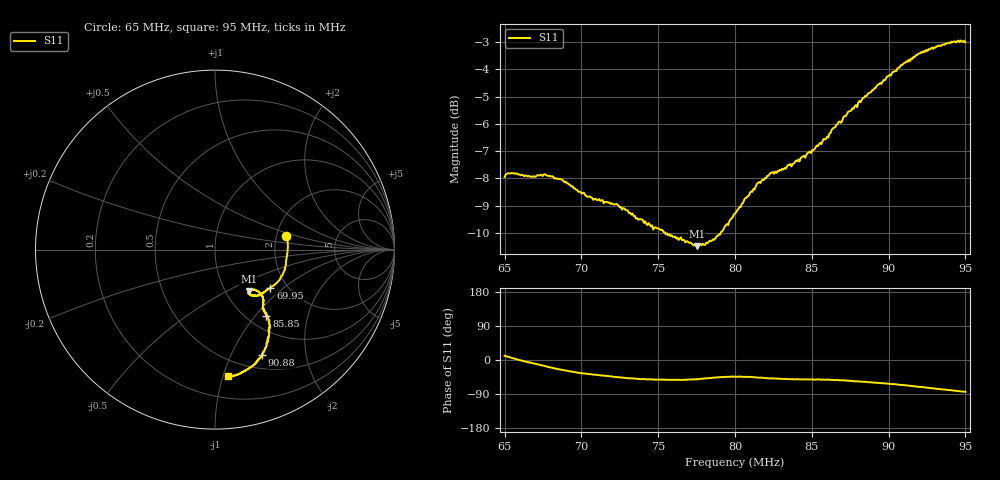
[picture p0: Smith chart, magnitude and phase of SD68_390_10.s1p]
! NanoVNA-App
! Date: 2025-08-02 16:01:18
! Start: 65MHz Stop: 95MHz Points: 401
! S-Parameter data: F S11
# Hz S RI R 50
!  Frequency  S11_Real  S11_Imag
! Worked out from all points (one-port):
!   401 points, 65 MHz to 95 MHz, reference 50 ohm
!   lowest |S11| = -10.5 dB at 77.53 MHz (marker M1), VSWR 1.85, Z = 63.9 - j32.6 ohm
!   |S11| at or under -10 dB: 75.44 MHz to 79.07 MHz (3.629 MHz wide, 4.7 % of centre)
!   S11 on the Smith chart (normalised r, x): 65 MHz: 2.24, +0.41; 69.95 MHz: 1.64, -0.82; 85.85 MHz: 1.21, -1.15; 90.88 MHz: 0.66, -1.32; 95 MHz: 0.37, -1.04
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6.5e7  0.3928 0.0776
6.5675e7  0.4056 0.0208
6.6275e7  0.4011 -0.024
6.725e7  0.3939 -0.0847
6.8e7  0.377 -0.1375
6.875e7  0.3557 -0.1736
6.995e7  0.3088 -0.2142
7.25e7  0.2458 -0.2522
7.415e7  0.2104 -0.257
7.625e7  0.1892 -0.2457
7.7525e7  0.1885 -0.2321
7.8125e7  0.2003 -0.2278
7.88e7  0.2155 -0.2252
8e7  0.248 -0.237
8.09e7  0.2622 -0.261
8.1575e7  0.2685 -0.286
8.2325e7  0.2689 -0.3065
8.375e7  0.2686 -0.3271
8.585e7  0.2869 -0.3714
8.75e7  0.3005 -0.4353
8.855e7  0.3018 -0.4761
8.9825e7  0.2874 -0.5349
9.0875e7  0.26 -0.5882
9.125e7  0.2525 -0.601
9.2e7  0.2175 -0.6397
9.3125e7  0.1714 -0.6743
9.41e7  0.1251 -0.6987
9.5e7  0.0732 -0.704
